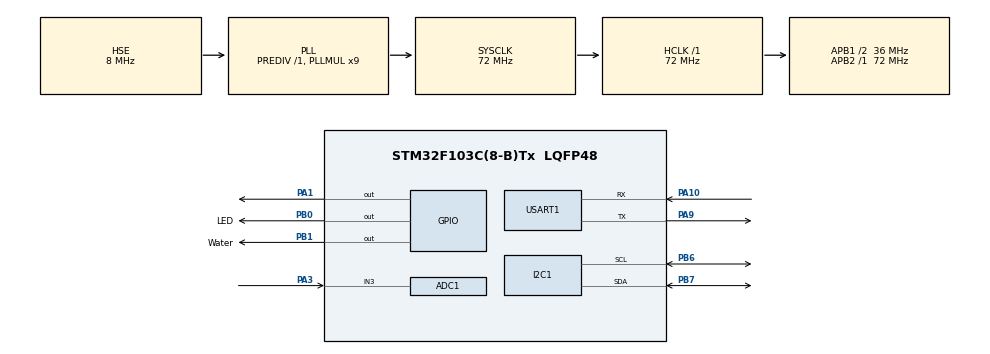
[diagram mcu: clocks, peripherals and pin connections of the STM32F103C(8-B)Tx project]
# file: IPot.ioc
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ADC1.Channel-0\#ChannelRegularConversion=ADC_CHANNEL_3
ADC1.NbrOfConversionFlag=1
ADC1.Rank-0\#ChannelRegularConversion=1
ADC1.SamplingTime-0\#ChannelRegularConversion=ADC_SAMPLETIME_1CYCLE_5
ADC1.master=1
FREERTOS.Tasks01=defaultTask,24,128,StartDefaultTask,Default,NULL,Dynamic,NULL,NULL
FREERTOS.configTOTAL_HEAP_SIZE=15000
Mcu.Family=STM32F1
Mcu.Name=STM32F103C(8-B)Tx
Mcu.Package=LQFP48
NVIC.PriorityGroup=NVIC_PRIORITYGROUP_4
NVIC.TIM4_IRQn=true\:15\:0\:false\:false\:true\:false\:false\:true\:true
NVIC.TimeBase=TIM4_IRQn
NVIC.TimeBaseIP=TIM4
NVIC.USART1_IRQn=true\:5\:0\:false\:false\:true\:true\:true\:true\:true
PA1.GPIO_ModeDefaultOutputPP=GPIO_MODE_OUTPUT_OD
PA1.GPIO_PuPd=GPIO_PULLUP
PA1.Signal=GPIO_Output
PA10.Mode=Asynchronous
PA10.Signal=USART1_RX
PA13.Mode=Serial_Wire
PA13.Signal=SYS_JTMS-SWDIO
PA14.Mode=Serial_Wire
PA14.Signal=SYS_JTCK-SWCLK
PA3.Signal=ADCx_IN3
PA9.Mode=Asynchronous
PA9.Signal=USART1_TX
PB0.GPIO_Label=LED
PB0.GPIO_PuPd=GPIO_PULLDOWN
PB0.Signal=GPIO_Output
PB1.GPIO_Label=Water
PB1.GPIO_PuPd=GPIO_PULLDOWN
PB1.Signal=GPIO_Output
PB6.Mode=I2C
PB6.Signal=I2C1_SCL
PB7.Mode=I2C
PB7.Signal=I2C1_SDA
PD0-OSC_IN.Mode=HSE-External-Oscillator
PD0-OSC_IN.Signal=RCC_OSC_IN
PD1-OSC_OUT.Mode=HSE-External-Oscillator
PD1-OSC_OUT.Signal=RCC_OSC_OUT
ProjectManager.HeapSize=0x200
ProjectManager.StackSize=0x400
ProjectManager.TargetToolchain=MDK-ARM V5.32
RCC.ADCPresc=RCC_ADCPCLK2_DIV6
RCC.AHBFreq_Value=72000000
RCC.APB1CLKDivider=RCC_HCLK_DIV2
RCC.APB1Freq_Value=36000000
RCC.APB1TimFreq_Value=72000000
RCC.APB2Freq_Value=72000000
RCC.APB2TimFreq_Value=72000000
RCC.HCLKFreq_Value=72000000
RCC.PLLMUL=RCC_PLL_MUL9
RCC.PLLSourceVirtual=RCC_PLLSOURCE_HSE
RCC.SYSCLKFreq_VALUE=72000000
RCC.SYSCLKSource=RCC_SYSCLKSOURCE_PLLCLK
RCC.USBFreq_Value=72000000
SH.ADCx_IN3.0=ADC1_IN3,IN3
USART1.VirtualMode=VM_ASYNC
VP_FREERTOS_VS_CMSIS_V2.Mode=CMSIS_V2
VP_SYS_VS_tim4.Mode=TIM4
board=custom

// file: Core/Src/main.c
/* USER CODE BEGIN Header */
/**
  ******************************************************************************
  * @file           : main.c
  * @brief          : Main program body
  ******************************************************************************
  * @attention
  *
  * Copyright (c) 2026 STMicroelectronics.
  * All rights reserved.
  *
  * This software is licensed under terms that can be found in the LICENSE file
  * in the root directory of this software component.
  * If no LICENSE file comes with this software, it is provided AS-IS.
  *
  ******************************************************************************
  */
/* USER CODE END Header */
#include "main.h"
#include "cmsis_os.h"
#include "adc.h"
#include "i2c.h"
#include "usart.h"
#include "gpio.h"
#include "FreeRTOS.h"
#include "semphr.h"

/* USER CODE BEGIN Includes */
#include "Driver_Moisture.h"
#include "Driver_DHT11.h"
#include "Driver_Uart.h"
#include "Driver_BH1750.h"
#include "Driver_LCD.h"
#include "Driver_ESP8266.h"
#include "Driver_Delay.h"

/* USER CODE END Includes */

void SystemClock_Config(void);
void MX_FREERTOS_Init(void);

/* USER CODE BEGIN 0 */
extern char ESP8266_rx_buffer[];		//缓冲区大小1024
extern uint16_t ESP8266_rx_len;				//缓冲区已使用字节
extern SemaphoreHandle_t xRxSemaphore;
uint8_t aRxBuffer;
/* USER CODE END 0 */

int main(void)
{

  /* MCU Configuration--------------------------------------------------------*/

  /* Reset of all peripherals, Initializes the Flash interface and the Systick. */
  HAL_Init();

  /* Configure the system clock */
  SystemClock_Config();

  /* Initialize all configured peripherals */
  MX_GPIO_Init();
  MX_ADC1_Init();
  MX_USART1_UART_Init();
  MX_I2C1_Init();
  /* USER CODE BEGIN 2 */
  HAL_UART_Receive_IT(&huart1, &aRxBuffer, 1);

  /* USER CODE END 2 */

  /* Init scheduler */
  osKernelInitialize();  /* Call init function for freertos objects (in cmsis_os2.c) */
  MX_FREERTOS_Init();

  /* Start scheduler */
  osKernelStart();

  /* We should never get here as control is now taken by the scheduler */

  /* Infinite loop */
  while (1)
  {

  }
}

void SystemClock_Config(void)
{
  RCC_OscInitTypeDef RCC_OscInitStruct = {0};
  RCC_ClkInitTypeDef RCC_ClkInitStruct = {0};
  RCC_PeriphCLKInitTypeDef PeriphClkInit = {0};

  /** Initializes the RCC Oscillators according to the specified parameters
  * in the RCC_OscInitTypeDef structure.
  */
  RCC_OscInitStruct.OscillatorType = RCC_OSCILLATORTYPE_HSE;
  RCC_OscInitStruct.HSEState = RCC_HSE_ON;
  RCC_OscInitStruct.HSEPredivValue = RCC_HSE_PREDIV_DIV1;
  RCC_OscInitStruct.HSIState = RCC_HSI_ON;
  RCC_OscInitStruct.PLL.PLLState = RCC_PLL_ON;
  RCC_OscInitStruct.PLL.PLLSource = RCC_PLLSOURCE_HSE;
  RCC_OscInitStruct.PLL.PLLMUL = RCC_PLL_MUL9;
  if (HAL_RCC_OscConfig(&RCC_OscInitStruct) != HAL_OK)
  {
    Error_Handler();
  }

  /** Initializes the CPU, AHB and APB buses clocks
  */
  RCC_ClkInitStruct.ClockType = RCC_CLOCKTYPE_HCLK|RCC_CLOCKTYPE_SYSCLK
                              |RCC_CLOCKTYPE_PCLK1|RCC_CLOCKTYPE_PCLK2;
  RCC_ClkInitStruct.SYSCLKSource = RCC_SYSCLKSOURCE_PLLCLK;
  RCC_ClkInitStruct.AHBCLKDivider = RCC_SYSCLK_DIV1;
  RCC_ClkInitStruct.APB1CLKDivider = RCC_HCLK_DIV2;
  RCC_ClkInitStruct.APB2CLKDivider = RCC_HCLK_DIV1;

  if (HAL_RCC_ClockConfig(&RCC_ClkInitStruct, FLASH_LATENCY_2) != HAL_OK)
  {
    Error_Handler();
  }
  PeriphClkInit.PeriphClockSelection = RCC_PERIPHCLK_ADC;
  PeriphClkInit.AdcClockSelection = RCC_ADCPCLK2_DIV6;
  if (HAL_RCCEx_PeriphCLKConfig(&PeriphClkInit) != HAL_OK)
  {
    Error_Handler();
  }
}

/* USER CODE BEGIN 4 */
void HAL_UART_RxCpltCallback(UART_HandleTypeDef *huart)
{
    if(huart->Instance == USART1)
    {
        // 存入大数组
        if(ESP8266_rx_len < (RX_BUF_MAX_LEN - 1))
        {
            ESP8266_rx_buffer[ESP8266_rx_len++] = aRxBuffer;
            ESP8266_rx_buffer[ESP8266_rx_len] = '\0';
        }

		if (aRxBuffer == '}')
        {
            BaseType_t xHigherPriorityTaskWoken = pdTRUE;
            // 释放信号量唤醒解析任务
            xSemaphoreGiveFromISR(xRxSemaphore, &xHigherPriorityTaskWoken);
            portYIELD_FROM_ISR(xHigherPriorityTaskWoken);
        }
        // 必须再次开启接收中断
        HAL_UART_Receive_IT(&huart1, &aRxBuffer, 1);
    }
}
/* USER CODE END 4 */

void HAL_TIM_PeriodElapsedCallback(TIM_HandleTypeDef *htim)
{
  if (htim->Instance == TIM4)
  {
    HAL_IncTick();
  }
}

void Error_Handler(void)
{
  __disable_irq();
  while (1)
  {
  }
}

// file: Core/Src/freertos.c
/* USER CODE BEGIN Header */
/**
  ******************************************************************************
  * File Name          : freertos.c
  * Description        : Code for freertos applications
  ******************************************************************************
  * @attention
  *
  * Copyright (c) 2026 STMicroelectronics.
  * All rights reserved.
  *
  * This software is licensed under terms that can be found in the LICENSE file
  * in the root directory of this software component.
  * If no LICENSE file comes with this software, it is provided AS-IS.
  *
  ******************************************************************************
  */
/* USER CODE END Header */

#include "FreeRTOS.h"
#include "task.h"
#include "main.h"
#include "cmsis_os.h"

/* USER CODE BEGIN Includes */
#include "semphr.h"

#include "Driver_DHT11.h"
#include "Driver_BH1750.h"
#include "Driver_Moisture.h"
#include "Driver_LCD.h"
#include "Driver_ESP8266.h"
#include "Driver_Light.h"
#include "Driver_Water.h"

/* USER CODE END Includes */

/* USER CODE BEGIN Variables */
 static SemaphoreHandle_t g_I2CMutex;
SemaphoreHandle_t xRxSemaphore;
/* USER CODE END Variables */
/* Definitions for defaultTask */
osThreadId_t defaultTaskHandle;
const osThreadAttr_t defaultTask_attributes = {
  .name = "defaultTask",
  .stack_size = 128 * 4,
  .priority = (osPriority_t) osPriorityNormal,
};

/* USER CODE BEGIN FunctionPrototypes */
/* USER CODE BEGIN FunctionPrototypes */
//进行封装
void GetI2C(void)
{
	/* 等待一个互斥量 */
	xSemaphoreTake(g_I2CMutex, portMAX_DELAY);
}

void PutI2C(void)
{
	/* 释放互斥量 */
	xSemaphoreGive(g_I2CMutex);
}

/* USER CODE END FunctionPrototypes */

void StartDefaultTask(void *argument);

void MX_FREERTOS_Init(void); /* (MISRA C 2004 rule 8.1) */

void MX_FREERTOS_Init(void) {
  /* USER CODE BEGIN Init */
	MoistureSensor_Init();
	DHT11_Init();
	BH1750_Init();
	LCD_Init();
	LCD_Clear();
	Light_Init();
	Water_Init();
  /* USER CODE END Init */

  /* Create the thread(s) */
  /* creation of defaultTask */
  //defaultTaskHandle = osThreadNew(StartDefaultTask, NULL, &defaultTask_attributes);

  /* USER CODE BEGIN RTOS_THREADS */
  g_I2CMutex = xSemaphoreCreateMutex();
  xRxSemaphore = xSemaphoreCreateBinary();
  /* add threads, ... */

  extern void ESP8266_ReceiveTask(void *params);
  xTaskCreate(ESP8266_ReceiveTask, "ESP8266_ReceiveTask", 80, NULL, osPriorityNormal1, NULL);

  extern void ESP8266_SendTask(void *params);
  xTaskCreate(ESP8266_SendTask, "ESP8266_SendTask", 350, NULL, osPriorityNormal1, NULL);

  /* USER CODE END RTOS_THREADS */

}

void StartDefaultTask(void *argument)
{
  for(;;)
  {
    osDelay(1);
  }
}
